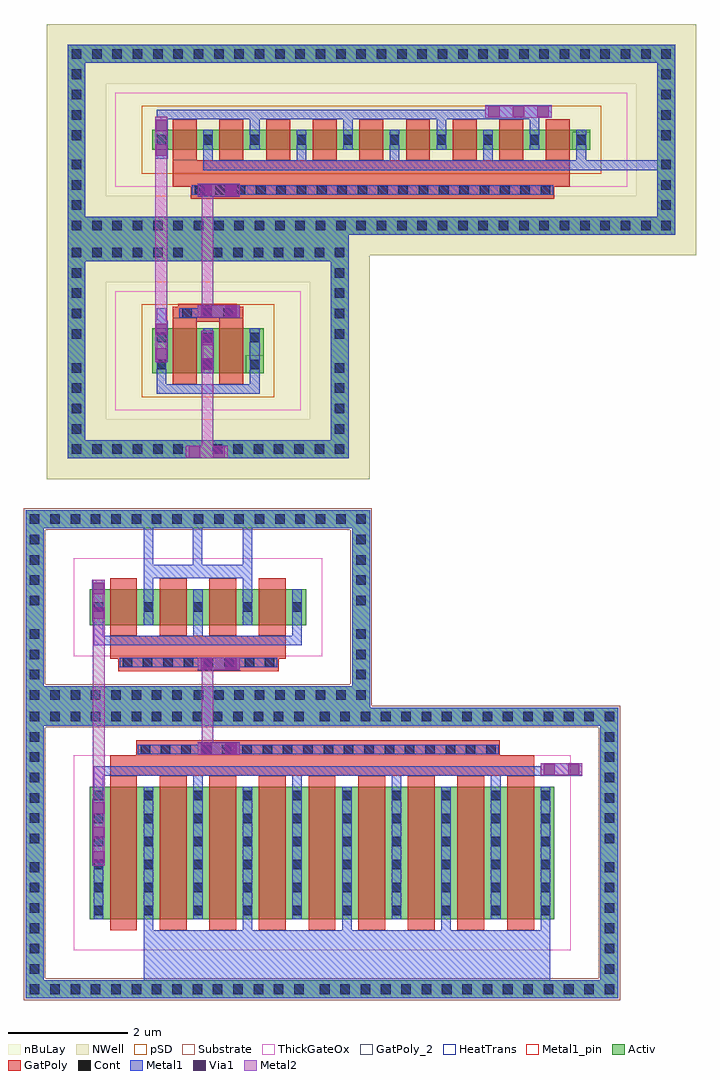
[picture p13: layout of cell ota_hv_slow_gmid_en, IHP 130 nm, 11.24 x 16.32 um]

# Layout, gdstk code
import gdstk
lib = gdstk.Library(unit=1e-6, precision=1e-09)
def R(c, l, rs):  # rectangles x0, y0, x1, y1
    for r in rs: c.add(gdstk.rectangle(r[:2], r[2:], *l))
def A(c, l, x, y, w, h, nx, ny, dx, dy):  # array of equal rectangles
    R(c, l, [(x+i*dx, y+j*dy, x+i*dx+w, y+j*dy+h) for i in range(nx) for j in range(ny)])
def P(c, l, *ps):  # polygons
    for p in ps: c.add(gdstk.Polygon(p, *l))
Activ = (1, 0)
GatPoly = (5, 0)
GatPoly_2 = (5, 2)
Cont = (6, 0)
Metal1 = (8, 0)
Metal1_pin = (8, 2)
Metal2 = (10, 0)
pSD = (14, 0)
Via1 = (19, 0)
NWell = (31, 0)
nBuLay = (32, 0)
Substrate = (40, 0)
ThickGateOx = (44, 0)
HeatTrans = (51, 0)

nmoshv_6 = lib.new_cell('nmosHV$6')
A(nmoshv_6, Activ, 0, 0, 0.3, 0.3, 10, 1, 0.83, 0)
R(nmoshv_6, Activ, [(-1.07,-1.02,-0.77,3.24), (8.54,-1.02,8.84,3.24), (0,0,7.77,2.22), (-1.07,3.24,8.84,3.54)])
P(nmoshv_6, Activ, [(-1.07,-1.32),(-1.07,3.24),(-0.77,3.24),(-0.77,-1.02),(8.54,-1.02),(8.54,3.24),(-1.07,3.24),(-1.07,3.54),(8.84,3.54),(8.84,-1.32)])
A(nmoshv_6, GatPoly, 0.34, -0.18, 0.45, 2.58, 9, 1, 0.83, 0)
R(nmoshv_6, GatPoly_2, [(0.34,-0.18,0.79,2.4)])
A(nmoshv_6, Cont, -1, -1.25, 0.16, 0.16, 14, 2, 0.34, 4.56)
A(nmoshv_6, Cont, 3.85, -1.25, 0.16, 0.16, 15, 2, 0.34, 4.56)
A(nmoshv_6, Cont, -1, -0.91, 0.16, 0.16, 1, 6, 0, 0.34)
A(nmoshv_6, Cont, 8.61, -0.91, 0.16, 0.16, 1, 6, 0, 0.34)
A(nmoshv_6, Cont, 0.07, 0.07, 0.16, 0.16, 10, 2, 0.83, 0.38)
A(nmoshv_6, Cont, 0.07, 0.835, 0.16, 0.16, 10, 4, 0.83, 0.385)
A(nmoshv_6, Cont, -1, 1.27, 0.16, 0.16, 1, 6, 0, 0.34)
A(nmoshv_6, Cont, 8.61, 1.27, 0.16, 0.16, 1, 6, 0, 0.34)
A(nmoshv_6, Metal1, 0.07, 0, 0.16, 2.22, 10, 1, 0.83, 0)
R(nmoshv_6, Metal1, [(-1.07,-1.32,8.84,-1.02), (-1.07,-1.02,-0.77,3.24), (8.54,-1.02,8.84,3.24), (-1.07,3.24,8.84,3.54)])
R(nmoshv_6, Metal1_pin, [(0.07,0,0.23,2.22), (0.9,0,1.06,2.22)])
R(nmoshv_6, pSD, [(-1.1,-0.99,-0.74,3.21), (8.51,-0.99,8.87,3.21), (-1.1,3.21,8.87,3.57)])
P(nmoshv_6, pSD, [(-1.1,-1.35),(-1.1,3.21),(-0.74,3.21),(-0.74,-0.99),(8.51,-0.99),(8.51,3.21),(-1.1,3.21),(-1.1,3.57),(8.87,3.57),(8.87,-1.35)])
R(nmoshv_6, Substrate, [(-1.1,-0.99,-0.74,3.21), (8.51,-0.99,8.87,3.21), (-1.1,3.21,8.87,3.57)])
P(nmoshv_6, Substrate, [(-1.1,-1.35),(-1.1,3.21),(-0.74,3.21),(-0.74,-0.99),(8.51,-0.99),(8.51,3.21),(-1.1,3.21),(-1.1,3.57),(8.87,3.57),(8.87,-1.35)])
R(nmoshv_6, ThickGateOx, [(-0.27,-0.52,8.04,2.74)])
A(nmoshv_6, HeatTrans, 0.34, -0.18, 0.45, 2.58, 9, 1, 0.83, 0)
nmoshv_6.add(gdstk.Label('nmosHV', (0.565,1.11), layer=63, texttype=0))
nmoshv_6.add(gdstk.Label('sub!', (3.885,-1.17), layer=63, texttype=0))
nmoshv_6.add(gdstk.Label('nmosHV', (0.565,1.11), layer=51, texttype=0))
nmoshv_6.add(gdstk.Label('nmosHV', (1.395,1.11), layer=51, texttype=0))
nmoshv_6.add(gdstk.Label('nmosHV', (2.225,1.11), layer=51, texttype=0))
nmoshv_6.add(gdstk.Label('nmosHV', (3.055,1.11), layer=51, texttype=0))
nmoshv_6.add(gdstk.Label('nmosHV', (3.885,1.11), layer=51, texttype=0))
nmoshv_6.add(gdstk.Label('nmosHV', (4.715,1.11), layer=51, texttype=0))
nmoshv_6.add(gdstk.Label('nmosHV', (5.545,1.11), layer=51, texttype=0))
nmoshv_6.add(gdstk.Label('nmosHV', (6.375,1.11), layer=51, texttype=0))
nmoshv_6.add(gdstk.Label('nmosHV', (7.205,1.11), layer=51, texttype=0))

pmoshv_6 = lib.new_cell('pmosHV$6')
A(pmoshv_6, Activ, 0, 0, 0.3, 0.3, 10, 1, 0.78, 0)
R(pmoshv_6, Activ, [(-1.42,-1.12,-1.12,1.45), (8.44,-1.12,8.74,1.45), (0,0,7.32,0.33), (-1.42,1.45,8.74,1.75)])
P(pmoshv_6, Activ, [(-1.42,-1.42),(-1.42,1.45),(-1.12,1.45),(-1.12,-1.12),(8.44,-1.12),(8.44,1.45),(-1.42,1.45),(-1.42,1.75),(8.74,1.75),(8.74,-1.42)])
A(pmoshv_6, GatPoly, 0.34, -0.18, 0.4, 0.69, 9, 1, 0.78, 0)
R(pmoshv_6, GatPoly_2, [(0.34,-0.18,0.74,0.51)])
A(pmoshv_6, Cont, -1.35, -1.35, 0.16, 0.16, 30, 2, 0.34, 2.87)
A(pmoshv_6, Cont, -1.35, -1.01, 0.16, 0.16, 1, 3, 0, 0.34)
A(pmoshv_6, Cont, 8.51, -1.01, 0.16, 0.16, 1, 3, 0, 0.34)
A(pmoshv_6, Cont, 0.07, 0.085, 0.16, 0.16, 10, 1, 0.78, 0)
A(pmoshv_6, Cont, -1.35, 0.16, 0.16, 0.16, 1, 4, 0, 0.34)
A(pmoshv_6, Cont, 8.51, 0.16, 0.16, 0.16, 1, 4, 0, 0.34)
A(pmoshv_6, Metal1, 0.07, 0, 0.16, 0.33, 10, 1, 0.78, 0)
R(pmoshv_6, Metal1, [(-1.42,-1.42,8.74,-1.12), (-1.42,-1.12,-1.12,1.45), (8.44,-1.12,8.74,1.45), (-1.42,1.45,8.74,1.75)])
R(pmoshv_6, Metal1_pin, [(0.07,0,0.23,0.33), (0.85,0,1.01,0.33)])
R(pmoshv_6, pSD, [(-0.18,-0.4,7.5,0.73)])
R(pmoshv_6, NWell, [(-1.77,-1.77,9.09,2.1), (-0.62,-0.62,7.94,0.95)])
R(pmoshv_6, nBuLay, [(-1.77,-0.77,-0.77,1.1), (8.09,-0.77,9.09,1.1), (-1.77,1.1,9.09,2.1)])
P(pmoshv_6, nBuLay, [(-1.77,-1.77),(-1.77,1.1),(-0.77,1.1),(-0.77,-0.77),(8.09,-0.77),(8.09,1.1),(-1.77,1.1),(-1.77,2.1),(9.09,2.1),(9.09,-1.77)])
R(pmoshv_6, Substrate, [(7.02,0,7.32,0.3)])
R(pmoshv_6, ThickGateOx, [(-0.62,-0.62,7.94,0.95)])
A(pmoshv_6, HeatTrans, 0.34, -0.18, 0.4, 0.69, 9, 1, 0.78, 0)
pmoshv_6.add(gdstk.Label('pmosHV', (0.54,0.165), layer=63, texttype=0))
pmoshv_6.add(gdstk.Label('well', (3.66,-1.27), layer=63, texttype=0))
pmoshv_6.add(gdstk.Label('pmos', (0.54,0.165), layer=51, texttype=0))
pmoshv_6.add(gdstk.Label('pmos', (1.32,0.165), layer=51, texttype=0))
pmoshv_6.add(gdstk.Label('pmos', (2.1,0.165), layer=51, texttype=0))
pmoshv_6.add(gdstk.Label('pmos', (2.88,0.165), layer=51, texttype=0))
pmoshv_6.add(gdstk.Label('pmos', (3.66,0.165), layer=51, texttype=0))
pmoshv_6.add(gdstk.Label('pmos', (4.44,0.165), layer=51, texttype=0))
pmoshv_6.add(gdstk.Label('pmos', (5.22,0.165), layer=51, texttype=0))
pmoshv_6.add(gdstk.Label('pmos', (6,0.165), layer=51, texttype=0))
pmoshv_6.add(gdstk.Label('pmos', (6.78,0.165), layer=51, texttype=0))

pmoshv_7 = lib.new_cell('pmosHV$7')
A(pmoshv_7, Activ, 0, 0, 0.3, 0.3, 3, 1, 0.78, 0)
R(pmoshv_7, Activ, [(-1.42,-1.12,-1.12,1.87), (2.98,-1.12,3.28,1.87), (0,0,1.86,0.75), (-1.42,1.87,3.28,2.17)])
P(pmoshv_7, Activ, [(-1.42,-1.42),(-1.42,1.87),(-1.12,1.87),(-1.12,-1.12),(2.98,-1.12),(2.98,1.87),(-1.42,1.87),(-1.42,2.17),(3.28,2.17),(3.28,-1.42)])
R(pmoshv_7, GatPoly, [(0.34,-0.18,0.74,0.93), (1.12,-0.18,1.52,0.93)])
R(pmoshv_7, GatPoly_2, [(0.34,-0.18,0.74,0.93)])
A(pmoshv_7, Cont, -1.35, -1.35, 0.16, 0.16, 6, 2, 0.34, 3.29)
A(pmoshv_7, Cont, 1.01, -1.35, 0.16, 0.16, 7, 2, 0.34, 3.29)
A(pmoshv_7, Cont, -1.35, -1.01, 0.16, 0.16, 1, 4, 0, 0.34)
A(pmoshv_7, Cont, 3.05, -1.01, 0.16, 0.16, 1, 4, 0, 0.34)
A(pmoshv_7, Cont, 0.07, 0.07, 0.16, 0.16, 3, 2, 0.78, 0.45)
A(pmoshv_7, Cont, -1.35, 0.58, 0.16, 0.16, 1, 4, 0, 0.34)
A(pmoshv_7, Cont, 3.05, 0.58, 0.16, 0.16, 1, 4, 0, 0.34)
A(pmoshv_7, Metal1, 0.07, 0, 0.16, 0.75, 3, 1, 0.78, 0)
R(pmoshv_7, Metal1, [(-1.42,-1.42,3.28,-1.12), (-1.42,-1.12,-1.12,1.87), (2.98,-1.12,3.28,1.87), (-1.42,1.87,3.28,2.17)])
R(pmoshv_7, Metal1_pin, [(0.07,0,0.23,0.75), (0.85,0,1.01,0.75)])
R(pmoshv_7, pSD, [(-0.18,-0.4,2.04,1.15)])
R(pmoshv_7, NWell, [(-1.77,-1.77,3.63,2.52), (-0.62,-0.62,2.48,1.37)])
R(pmoshv_7, nBuLay, [(-1.77,-0.77,-0.77,1.52), (2.63,-0.77,3.63,1.52), (-1.77,1.52,3.63,2.52)])
P(pmoshv_7, nBuLay, [(-1.77,-1.77),(-1.77,1.52),(-0.77,1.52),(-0.77,-0.77),(2.63,-0.77),(2.63,1.52),(-1.77,1.52),(-1.77,2.52),(3.63,2.52),(3.63,-1.77)])
R(pmoshv_7, Substrate, [(1.56,0,1.86,0.3)])
R(pmoshv_7, ThickGateOx, [(-0.62,-0.62,2.48,1.37)])
R(pmoshv_7, HeatTrans, [(0.34,-0.18,0.74,0.93), (1.12,-0.18,1.52,0.93)])
pmoshv_7.add(gdstk.Label('pmosHV', (0.54,0.375), layer=63, texttype=0))
pmoshv_7.add(gdstk.Label('well', (0.93,-1.27), layer=63, texttype=0))
pmoshv_7.add(gdstk.Label('pmos', (0.54,0.375), layer=51, texttype=0))
pmoshv_7.add(gdstk.Label('pmos', (1.32,0.375), layer=51, texttype=0))

nmoshv_4 = lib.new_cell('nmosHV$4')
A(nmoshv_4, Activ, 0, 0, 0.3, 0.3, 5, 1, 0.83, 0)
R(nmoshv_4, Activ, [(-1.07,-1.02,-0.77,1.62), (4.39,-1.02,4.69,1.62), (0,0,3.62,0.6), (-1.07,1.62,4.69,1.92)])
P(nmoshv_4, Activ, [(-1.07,-1.32),(-1.07,1.62),(-0.77,1.62),(-0.77,-1.02),(4.39,-1.02),(4.39,1.62),(-1.07,1.62),(-1.07,1.92),(4.69,1.92),(4.69,-1.32)])
A(nmoshv_4, GatPoly, 0.34, -0.18, 0.45, 0.96, 4, 1, 0.83, 0)
R(nmoshv_4, GatPoly_2, [(0.34,-0.18,0.79,0.78)])
A(nmoshv_4, Cont, -1, -1.25, 0.16, 0.16, 8, 2, 0.34, 2.94)
A(nmoshv_4, Cont, 1.74, -1.25, 0.16, 0.16, 9, 2, 0.34, 2.94)
A(nmoshv_4, Cont, -1, -0.91, 0.16, 0.16, 1, 3, 0, 0.34)
A(nmoshv_4, Cont, 4.46, -0.91, 0.16, 0.16, 1, 3, 0, 0.34)
A(nmoshv_4, Cont, 0.07, 0.22, 0.16, 0.16, 5, 1, 0.83, 0)
A(nmoshv_4, Cont, -1, 0.33, 0.16, 0.16, 1, 4, 0, 0.34)
A(nmoshv_4, Cont, 4.46, 0.33, 0.16, 0.16, 1, 4, 0, 0.34)
A(nmoshv_4, Metal1, 0.07, 0, 0.16, 0.6, 5, 1, 0.83, 0)
R(nmoshv_4, Metal1, [(-1.07,-1.32,4.69,-1.02), (-1.07,-1.02,-0.77,1.62), (4.39,-1.02,4.69,1.62), (-1.07,1.62,4.69,1.92)])
R(nmoshv_4, Metal1_pin, [(0.07,0,0.23,0.6), (0.9,0,1.06,0.6)])
R(nmoshv_4, pSD, [(-1.1,-0.99,-0.74,1.59), (4.36,-0.99,4.72,1.59), (-1.1,1.59,4.72,1.95)])
P(nmoshv_4, pSD, [(-1.1,-1.35),(-1.1,1.59),(-0.74,1.59),(-0.74,-0.99),(4.36,-0.99),(4.36,1.59),(-1.1,1.59),(-1.1,1.95),(4.72,1.95),(4.72,-1.35)])
R(nmoshv_4, Substrate, [(-1.1,-0.99,-0.74,1.59), (4.36,-0.99,4.72,1.59), (-1.1,1.59,4.72,1.95)])
P(nmoshv_4, Substrate, [(-1.1,-1.35),(-1.1,1.59),(-0.74,1.59),(-0.74,-0.99),(4.36,-0.99),(4.36,1.59),(-1.1,1.59),(-1.1,1.95),(4.72,1.95),(4.72,-1.35)])
R(nmoshv_4, ThickGateOx, [(-0.27,-0.52,3.89,1.12)])
A(nmoshv_4, HeatTrans, 0.34, -0.18, 0.45, 0.96, 4, 1, 0.83, 0)
nmoshv_4.add(gdstk.Label('nmosHV', (0.565,0.3), layer=63, texttype=0))
nmoshv_4.add(gdstk.Label('sub!', (1.81,-1.17), layer=63, texttype=0))
nmoshv_4.add(gdstk.Label('nmosHV', (0.565,0.3), layer=51, texttype=0))
nmoshv_4.add(gdstk.Label('nmosHV', (1.395,0.3), layer=51, texttype=0))
nmoshv_4.add(gdstk.Label('nmosHV', (2.225,0.3), layer=51, texttype=0))
nmoshv_4.add(gdstk.Label('nmosHV', (3.055,0.3), layer=51, texttype=0))

via_stack_26 = lib.new_cell('via_stack$26')
R(via_stack_26, Metal1, [(-0.105,-0.555,0.105,0.555)])
R(via_stack_26, Metal2, [(-0.1,-0.555,0.1,0.555)])
A(via_stack_26, Via1, -0.095, -0.505, 0.19, 0.19, 1, 3, 0, 0.41)

via_stack_4 = lib.new_cell('via_stack$4')
R(via_stack_4, Metal1, [(-0.105,-0.35,0.105,0.35)])
R(via_stack_4, Metal2, [(-0.1,-0.35,0.1,0.35)])
R(via_stack_4, Via1, [(-0.095,-0.3,0.095,-0.11), (-0.095,0.11,0.095,0.3)])

via_stack_18 = lib.new_cell('via_stack$18')
R(via_stack_18, GatPoly, [(-3.04,-0.15,3.04,0.15)])
A(via_stack_18, Cont, -2.97, -0.08, 0.16, 0.16, 18, 1, 0.34, 0)
R(via_stack_18, Metal1, [(-3.02,-0.08,3.02,0.08)])

via_stack_27 = lib.new_cell('via_stack$27')
R(via_stack_27, GatPoly, [(-0.49,-0.15,0.49,0.15)])
A(via_stack_27, Cont, -0.42, -0.08, 0.16, 0.16, 3, 1, 0.34, 0)
R(via_stack_27, Metal1, [(-0.47,-0.08,0.47,0.08)])

via_stack_3 = lib.new_cell('via_stack$3')
R(via_stack_3, Metal1, [(-0.35,-0.105,0.35,0.105)])
R(via_stack_3, Metal2, [(-0.35,-0.1,0.35,0.1)])
R(via_stack_3, Via1, [(-0.3,-0.095,-0.11,0.095), (0.11,-0.095,0.3,0.095)])

via_stack = lib.new_cell('via_stack')
R(via_stack, GatPoly, [(-1.34,-0.15,1.34,0.15)])
A(via_stack, Cont, -1.27, -0.08, 0.16, 0.16, 8, 1, 0.34, 0)
R(via_stack, Metal1, [(-1.32,-0.08,1.32,0.08)])

via_stack_28 = lib.new_cell('via_stack$28')
R(via_stack_28, Metal1, [(-0.555,-0.105,0.555,0.105)])
R(via_stack_28, Metal2, [(-0.555,-0.1,0.555,0.1)])
A(via_stack_28, Via1, -0.505, -0.095, 0.19, 0.19, 3, 1, 0.41, 0)

ota_hv_slow_gmid_en = lib.new_cell('ota_hv_slow_gmid_en')
R(ota_hv_slow_gmid_en, Activ, [(0.03,4.89,5.79,4.95), (0.73,12.65,5.43,12.8)])
R(ota_hv_slow_gmid_en, GatPoly, [(1.44,3.75,8.53,4.09), (1.44,5.71,4.38,6.09), (2.49,11.41,3.67,11.59), (2.49,13.6,9.13,14.04)])
R(ota_hv_slow_gmid_en, Metal1, [(2,0.03,8.8,1.17), (2,1.01,2.16,1.515), (3.66,1.01,3.82,1.515), (5.32,1.01,5.48,1.485), (6.98,1.01,7.14,1.49), (8.64,1.01,8.8,1.465), (1.17,3.405,1.33,3.91), (2.83,3.405,2.99,3.91), (6.15,3.43,6.31,3.91), (4.49,3.435,4.65,3.91), (7.81,3.455,7.97,3.91), (1.17,3.75,8.88,3.91), (0.03,4.89,5.79,4.95), (1.17,5.93,4.65,6.09), (1.17,5.93,1.33,6.425), (2.83,5.93,2.99,6.37), (4.49,5.93,4.65,6.385), (2,6.685,2.16,7.21), (3.66,6.73,3.82,7.21), (2,7.05,2.16,8.19), (3.66,7.05,3.82,8.19), (2,7.055,3.82,7.28), (2.82,7.055,2.98,8.19), (2.22,10.14,3.94,10.3), (2.22,10.14,2.38,10.555), (3.78,10.14,3.94,10.575), (2.22,11.08,2.38,11.57), (0.73,12.65,5.43,12.8), (3,13.875,10.89,14.04), (3,13.88,3.16,14.385), (4.56,13.88,4.72,14.385), (6.12,13.88,6.28,14.355), (7.68,13.88,7.84,14.36), (9.24,13.88,9.4,14.335), (2.22,14.385,2.38,14.89), (3.78,14.385,3.94,14.89), (6.9,14.41,7.06,14.89), (5.34,14.415,5.5,14.89), (8.46,14.435,8.62,14.89), (2.22,14.73,8.62,14.89)])
R(ota_hv_slow_gmid_en, Metal2, [(1.15,2.895,1.35,6.565), (2.97,4.195,3.17,5.67), (2.97,9.06,3.17,10.535), (2.2,10.9,2.4,14.135), (2.97,11.43,3.17,13.635)])
ota_hv_slow_gmid_en.add(gdstk.Reference(nmoshv_6, (1.1,1.35)))
ota_hv_slow_gmid_en.add(gdstk.Reference(pmoshv_6, (2.15,14.22)))
ota_hv_slow_gmid_en.add(gdstk.Reference(pmoshv_7, (2.15,10.48)))
ota_hv_slow_gmid_en.add(gdstk.Reference(nmoshv_4, (1.1,6.27)))
ota_hv_slow_gmid_en.add(gdstk.Reference(via_stack_26, (1.25,2.8)))
ota_hv_slow_gmid_en.add(gdstk.Reference(via_stack_4, (1.25,6.675)))
ota_hv_slow_gmid_en.add(gdstk.Reference(via_stack_4, (2.3,11.01)))
ota_hv_slow_gmid_en.add(gdstk.Reference(via_stack_4, (2.3,14.42)))
ota_hv_slow_gmid_en.add(gdstk.Reference(via_stack_18, (5.83,13.545)))
ota_hv_slow_gmid_en.add(gdstk.Reference(via_stack_27, (3.07,11.49)))
ota_hv_slow_gmid_en.add(gdstk.Reference(via_stack_3, (3.26,13.54)))
ota_hv_slow_gmid_en.add(gdstk.Reference(via_stack_3, (3.26,11.515)))
ota_hv_slow_gmid_en.add(gdstk.Reference(via_stack_4, (3.07,10.84)))
ota_hv_slow_gmid_en.add(gdstk.Reference(via_stack_3, (3.06,9.165)))
ota_hv_slow_gmid_en.add(gdstk.Reference(via_stack_18, (4.92,4.19)))
ota_hv_slow_gmid_en.add(gdstk.Reference(via_stack, (2.92,5.645)))
ota_hv_slow_gmid_en.add(gdstk.Reference(via_stack_3, (3.26,5.62)))
ota_hv_slow_gmid_en.add(gdstk.Reference(via_stack_3, (3.26,4.205)))
ota_hv_slow_gmid_en.add(gdstk.Reference(via_stack_28, (8.27,14.855)))
ota_hv_slow_gmid_en.add(gdstk.Reference(via_stack_3, (8.99,3.855)))

lib.write_gds('ota_hv_slow_gmid_en.gds')
